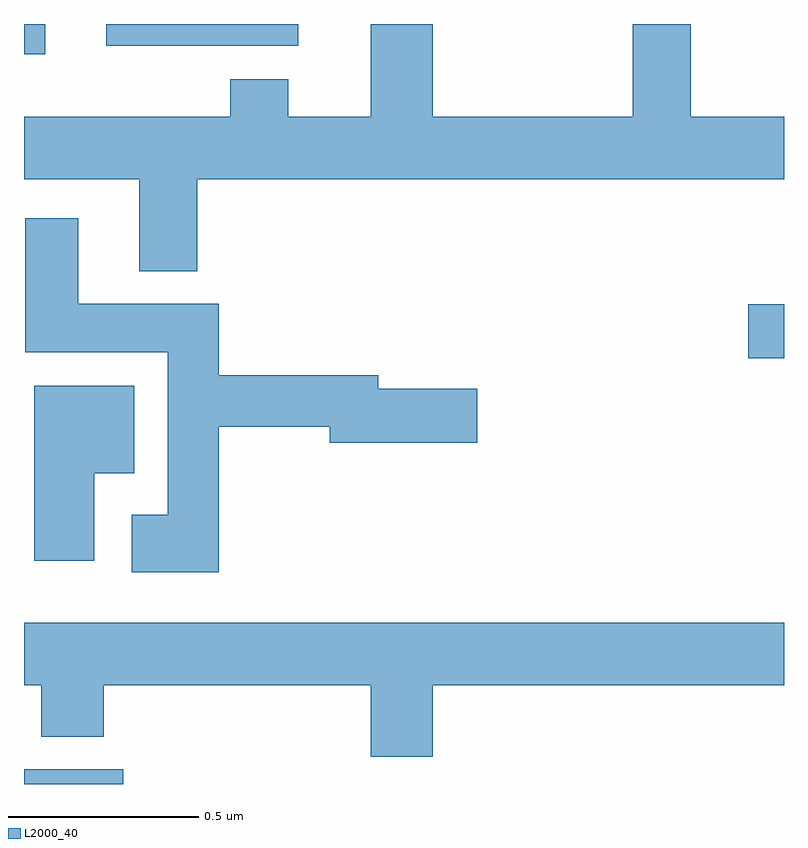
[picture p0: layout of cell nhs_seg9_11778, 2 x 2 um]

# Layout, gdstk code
import gdstk
lib = gdstk.Library(unit=1e-6, precision=1e-09)
def R(c, l, rs):  # rectangles x0, y0, x1, y1
    for r in rs: c.add(gdstk.rectangle(r[:2], r[2:], *l))
def P(c, l, *ps):  # polygons
    for p in ps: c.add(gdstk.Polygon(p, *l))
L2000_40 = (2000, 40)

nhs_seg9_11778 = lib.new_cell('nhs_seg9_11778')
R(nhs_seg9_11778, L2000_40, [(260,1189.5,260.261,1189.539), (261.906,1190.621,262,1190.763), (260,1191.42,260.056,1191.5), (260.217,1191.443,260.722,1191.5)])
P(nhs_seg9_11778, L2000_40, [(260.456,1191.092),(262,1191.092),(262,1191.256),(261.754,1191.256),(261.754,1191.5),(261.602,1191.5),(261.602,1191.256),(261.076,1191.256),(261.076,1191.5),(260.912,1191.5),(260.912,1191.256),(260.695,1191.256),(260.695,1191.355),(260.543,1191.355),(260.543,1191.256),(260,1191.256),(260,1191.092),(260.303,1191.092),(260.303,1190.849),(260.456,1190.849)],
  [(260.513,1190.44),(260.804,1190.44),(260.804,1190.398),(261.193,1190.398),(261.193,1190.54),(260.932,1190.54),(260.932,1190.576),(260.513,1190.576),(260.513,1190.764),(260.143,1190.764),(260.143,1190.989),(260.003,1190.989),(260.003,1190.636),(260.378,1190.636),(260.378,1190.209),(260.283,1190.209),(260.283,1190.057),(260.513,1190.057)],
  [(260.185,1190.318),(260.29,1190.318),(260.29,1190.548),(260.027,1190.548),(260.027,1190.088),(260.185,1190.088)],
  [(261.076,1189.76),(262,1189.76),(262,1189.924),(260,1189.924),(260,1189.76),(260.045,1189.76),(260.045,1189.624),(260.21,1189.624),(260.21,1189.76),(260.912,1189.76),(260.912,1189.572),(261.076,1189.572)])

lib.write_gds('nhs_seg9_11778.gds')
